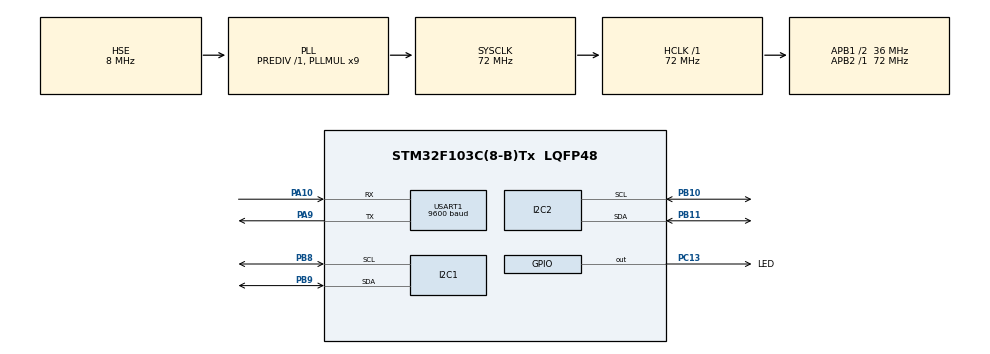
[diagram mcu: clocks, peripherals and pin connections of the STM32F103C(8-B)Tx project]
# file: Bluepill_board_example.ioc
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Mcu.Family=STM32F1
RCC.PLLSourceVirtual=RCC_PLLSOURCE_HSE
PD1-OSC_OUT.Mode=HSE-External-Oscillator
PA10.Mode=Asynchronous
PB10.Mode=I2C
USART1.BaudRate=9600
PC13-TAMPER-RTC.Signal=GPIO_Output
PD0-OSC_IN.Signal=RCC_OSC_IN
RCC.APB1CLKDivider=RCC_HCLK_DIV2
PB11.Signal=I2C2_SDA
RCC.SYSCLKSource=RCC_SYSCLKSOURCE_PLLCLK
ProjectManager.StackSize=0x400
PD1-OSC_OUT.Signal=RCC_OSC_OUT
PA13.Signal=SYS_JTMS-SWDIO
PA9.Mode=Asynchronous
PB11.Mode=I2C
ProjectManager.TargetToolchain=STM32CubeIDE
I2C1.I2C_Mode=I2C_Fast
RCC.HCLKFreq_Value=72000000
PB9.Mode=I2C
RCC.APB2TimFreq_Value=72000000
PA9.Signal=USART1_TX
RCC.USBFreq_Value=72000000
RCC.AHBFreq_Value=72000000
PB10.Signal=I2C2_SCL
PD0-OSC_IN.Mode=HSE-External-Oscillator
board=custom
PC13-TAMPER-RTC.GPIO_Label=LED
RCC.PLLMUL=RCC_PLL_MUL9
RCC.APB2Freq_Value=72000000
PA14.Mode=Serial_Wire
PA13.Mode=Serial_Wire
Mcu.Name=STM32F103C(8-B)Tx
RCC.SYSCLKFreq_VALUE=72000000
Mcu.Package=LQFP48
PB9.Signal=I2C1_SDA
USART1.VirtualMode=VM_ASYNC
PA10.Signal=USART1_RX
PA14.Signal=SYS_JTCK-SWCLK
ProjectManager.HeapSize=0x200
NVIC.PriorityGroup=NVIC_PRIORITYGROUP_4
PB8.Mode=I2C
RCC.APB1TimFreq_Value=72000000
PB8.Signal=I2C1_SCL
RCC.APB1Freq_Value=36000000

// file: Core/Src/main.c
/* USER CODE BEGIN Header */
/**
  ******************************************************************************
  * @file           : main.c
  * @brief          : Main program body
  ******************************************************************************
  * @attention
  *
  * <h2><center>&copy; Copyright (c) 2020 STMicroelectronics.
  * All rights reserved.</center></h2>
  *
  * This software component is licensed by ST under BSD 3-Clause license,
  * the "License"; You may not use this file except in compliance with the
  * License. You may obtain a copy of the License at:
  *                        opensource.org/licenses/BSD-3-Clause
  *
  ******************************************************************************
  */
/* USER CODE END Header */
#include "main.h"

/* USER CODE BEGIN Includes */
#include "gifs.h"
#include "ssd1306.h"
#include "fonts.h"
#include "bitmaps.h"
#include "BME280.h"
#include <String.h>
/* USER CODE END Includes */

I2C_HandleTypeDef hi2c1;
I2C_HandleTypeDef hi2c2;

UART_HandleTypeDef huart1;

/* USER CODE BEGIN PV */
char str1[100];
/* USER CODE END PV */

void SystemClock_Config(void);
static void MX_GPIO_Init(void);
static void MX_I2C1_Init(void);
static void MX_I2C2_Init(void);
static void MX_USART1_UART_Init(void);

int main(void)
{
  /* USER CODE BEGIN 1 */
	float tf = 0.0f, pf = 0.0f, af = 0.0f, hf = 0.0f;
  /* USER CODE END 1 */

  /* MCU Configuration--------------------------------------------------------*/

  /* Reset of all peripherals, Initializes the Flash interface and the Systick. */
  HAL_Init();

  /* Configure the system clock */
  SystemClock_Config();

  /* Initialize all configured peripherals */
  MX_GPIO_Init();
  MX_I2C1_Init();
  MX_I2C2_Init();
  MX_USART1_UART_Init();
  /* USER CODE BEGIN 2 */
  SSD1306_Init();

  char str1[100];

  void I2C_Scan() {
      char info[] = "Scanning I2C bus...\r\n";

      HAL_StatusTypeDef res;
      for(uint16_t i = 0; i < 128; i++) {
          res = HAL_I2C_IsDeviceReady(&hi2c2, i << 1, 1, 10);
          if(res == HAL_OK) {
                        char msg[64];
                        snprintf(msg, sizeof(msg), "0x%02X", i);
          }

      }

  }
  I2C_Scan();
  BME280_Init();

  char rxbuf[1024];
  /* USER CODE END 2 */

  /* Infinite loop */
  /* USER CODE BEGIN WHILE */
  while (1)
  {

	  ///
	  tf = BME280_ReadTemperature();
	  		sprintf(str1, "Temperature: %.3f *C\r\n", tf);

	  		sprintf(str1, "%11.3f *C", tf);
	  		strcpy(rxbuf,str1);
	  		HAL_UART_Transmit(&huart1, rxbuf, strlen(rxbuf), 1000);
	  		pf = BME280_ReadPressure();
	  		sprintf(str1, "Pressure: %.3f Pa; %.3f hPa; %.3f mmHg\r\n", pf, pf/1000.0f, pf * 0.000750061683f);

	  		sprintf(str1, "%11.3f hPa", pf/1000.0f);
	  		strcpy(rxbuf,str1);
	  		HAL_UART_Transmit(&huart1, rxbuf, strlen(rxbuf), 1000);
	  		sprintf(str1, "%11.3f mmHg", pf * 0.000750061683f);
	  		strcpy(rxbuf,str1);
	  		HAL_UART_Transmit(&huart1, rxbuf, strlen(rxbuf), 1000);
	  		memset(rxbuf,0,1024);
	  		af = BME280_ReadAltitude(SEALEVELPRESSURE_PA);
	  		sprintf(str1, "Altitude: %.3f m\r\n", af);
	  		strcpy(rxbuf,str1);
	  		HAL_UART_Transmit(&huart1, rxbuf, strlen(rxbuf), 1000);
	  		hf = BME280_ReadHumidity();
	  		sprintf(str1, "Humidity: %.3f %%\r\n", hf);

	  		sprintf(str1, "%7.3f %% %4.1f m", hf, af);
	  		strcpy(rxbuf,str1);
	  		HAL_UART_Transmit(&huart1, rxbuf, strlen(rxbuf), 1000);
	  		HAL_Delay(1000);

	  		SSD1306_Clear();
	  			SSD1306_GotoXY (0,0);
	  			SSD1306_Puts (rxbuf, &Font_7x10, 1);
	  			HAL_Delay(1000);
	  			SSD1306_UpdateScreen();

	  			memset(rxbuf,0,1024);
	  //

    /* USER CODE END WHILE */

  }
}

void SystemClock_Config(void)
{
  RCC_OscInitTypeDef RCC_OscInitStruct = {0};
  RCC_ClkInitTypeDef RCC_ClkInitStruct = {0};

  /** Initializes the RCC Oscillators according to the specified parameters
  * in the RCC_OscInitTypeDef structure.
  */
  RCC_OscInitStruct.OscillatorType = RCC_OSCILLATORTYPE_HSE;
  RCC_OscInitStruct.HSEState = RCC_HSE_ON;
  RCC_OscInitStruct.HSEPredivValue = RCC_HSE_PREDIV_DIV1;
  RCC_OscInitStruct.HSIState = RCC_HSI_ON;
  RCC_OscInitStruct.PLL.PLLState = RCC_PLL_ON;
  RCC_OscInitStruct.PLL.PLLSource = RCC_PLLSOURCE_HSE;
  RCC_OscInitStruct.PLL.PLLMUL = RCC_PLL_MUL9;
  if (HAL_RCC_OscConfig(&RCC_OscInitStruct) != HAL_OK)
  {
    Error_Handler();
  }
  /** Initializes the CPU, AHB and APB buses clocks
  */
  RCC_ClkInitStruct.ClockType = RCC_CLOCKTYPE_HCLK|RCC_CLOCKTYPE_SYSCLK
                              |RCC_CLOCKTYPE_PCLK1|RCC_CLOCKTYPE_PCLK2;
  RCC_ClkInitStruct.SYSCLKSource = RCC_SYSCLKSOURCE_PLLCLK;
  RCC_ClkInitStruct.AHBCLKDivider = RCC_SYSCLK_DIV1;
  RCC_ClkInitStruct.APB1CLKDivider = RCC_HCLK_DIV2;
  RCC_ClkInitStruct.APB2CLKDivider = RCC_HCLK_DIV1;

  if (HAL_RCC_ClockConfig(&RCC_ClkInitStruct, FLASH_LATENCY_2) != HAL_OK)
  {
    Error_Handler();
  }
}

static void MX_I2C1_Init(void)
{

  hi2c1.Instance = I2C1;
  hi2c1.Init.ClockSpeed = 400000;
  hi2c1.Init.DutyCycle = I2C_DUTYCYCLE_2;
  hi2c1.Init.OwnAddress1 = 0;
  hi2c1.Init.AddressingMode = I2C_ADDRESSINGMODE_7BIT;
  hi2c1.Init.DualAddressMode = I2C_DUALADDRESS_DISABLE;
  hi2c1.Init.OwnAddress2 = 0;
  hi2c1.Init.GeneralCallMode = I2C_GENERALCALL_DISABLE;
  hi2c1.Init.NoStretchMode = I2C_NOSTRETCH_DISABLE;
  if (HAL_I2C_Init(&hi2c1) != HAL_OK)
  {
    Error_Handler();
  }

}

static void MX_I2C2_Init(void)
{

  hi2c2.Instance = I2C2;
  hi2c2.Init.ClockSpeed = 100000;
  hi2c2.Init.DutyCycle = I2C_DUTYCYCLE_2;
  hi2c2.Init.OwnAddress1 = 0;
  hi2c2.Init.AddressingMode = I2C_ADDRESSINGMODE_7BIT;
  hi2c2.Init.DualAddressMode = I2C_DUALADDRESS_DISABLE;
  hi2c2.Init.OwnAddress2 = 0;
  hi2c2.Init.GeneralCallMode = I2C_GENERALCALL_DISABLE;
  hi2c2.Init.NoStretchMode = I2C_NOSTRETCH_DISABLE;
  if (HAL_I2C_Init(&hi2c2) != HAL_OK)
  {
    Error_Handler();
  }

}

static void MX_USART1_UART_Init(void)
{

  huart1.Instance = USART1;
  huart1.Init.BaudRate = 9600;
  huart1.Init.WordLength = UART_WORDLENGTH_8B;
  huart1.Init.StopBits = UART_STOPBITS_1;
  huart1.Init.Parity = UART_PARITY_NONE;
  huart1.Init.Mode = UART_MODE_TX_RX;
  huart1.Init.HwFlowCtl = UART_HWCONTROL_NONE;
  huart1.Init.OverSampling = UART_OVERSAMPLING_16;
  if (HAL_UART_Init(&huart1) != HAL_OK)
  {
    Error_Handler();
  }

}

static void MX_GPIO_Init(void)
{
  GPIO_InitTypeDef GPIO_InitStruct = {0};

  /* GPIO Ports Clock Enable */
  __HAL_RCC_GPIOC_CLK_ENABLE();
  __HAL_RCC_GPIOD_CLK_ENABLE();
  __HAL_RCC_GPIOB_CLK_ENABLE();
  __HAL_RCC_GPIOA_CLK_ENABLE();

  /*Configure GPIO pin Output Level */
  HAL_GPIO_WritePin(LED_GPIO_Port, LED_Pin, GPIO_PIN_RESET);

  /*Configure GPIO pin : LED_Pin */
  GPIO_InitStruct.Pin = LED_Pin;
  GPIO_InitStruct.Mode = GPIO_MODE_OUTPUT_PP;
  GPIO_InitStruct.Pull = GPIO_NOPULL;
  GPIO_InitStruct.Speed = GPIO_SPEED_FREQ_LOW;
  HAL_GPIO_Init(LED_GPIO_Port, &GPIO_InitStruct);

}

void Error_Handler(void)
{
}

/************************ (C) COPYRIGHT STMicroelectronics *****END OF FILE****/
